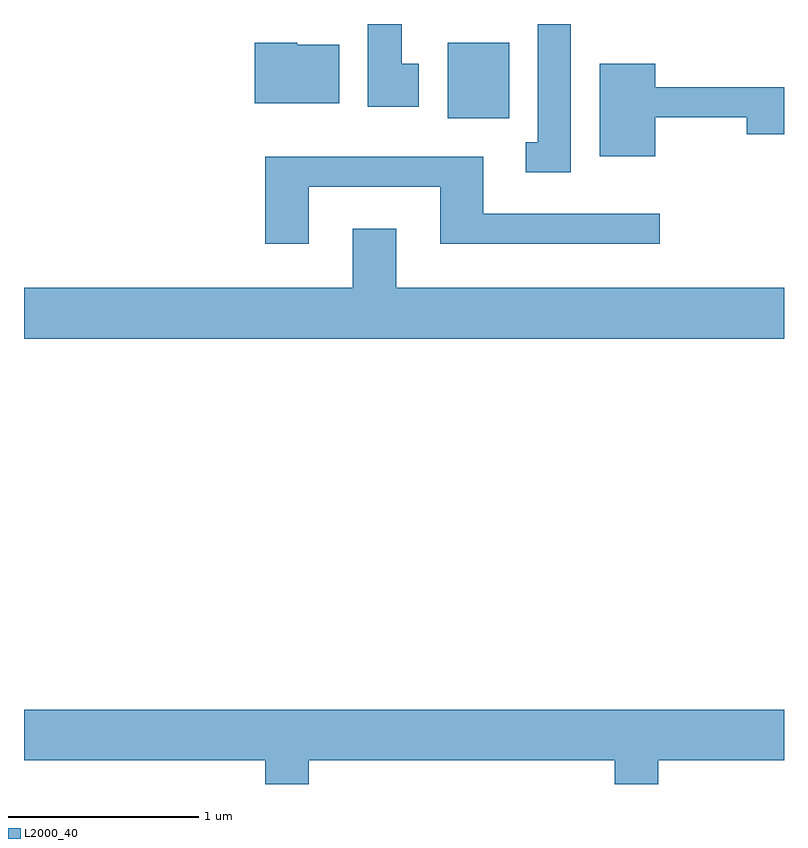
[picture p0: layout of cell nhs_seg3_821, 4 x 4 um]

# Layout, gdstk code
import gdstk
lib = gdstk.Library(unit=1e-6, precision=1e-09)
def R(c, l, rs):  # rectangles x0, y0, x1, y1
    for r in rs: c.add(gdstk.rectangle(r[:2], r[2:], *l))
def P(c, l, *ps):  # polygons
    for p in ps: c.add(gdstk.Polygon(p, *l))
L2000_40 = (2000, 40)

nhs_seg3_821 = lib.new_cell('nhs_seg3_821')
R(nhs_seg3_821, L2000_40, [(211.841,1129.396,212.164,1129.794)])
P(nhs_seg3_821, L2000_40, [(211.689,1129.684),(211.599,1129.684),(211.599,1129.892),(211.421,1129.892),(211.421,1129.456),(211.689,1129.456)],
  [(212.489,1129.892),(212.316,1129.892),(212.316,1129.269),(212.253,1129.269),(212.253,1129.111),(212.489,1129.111)],
  [(211.269,1129.784),(211.05,1129.784),(211.05,1129.794),(210.826,1129.794),(210.826,1129.476),(211.269,1129.476)],
  [(212.934,1129.401),(213.416,1129.401),(213.416,1129.311),(213.611,1129.311),(213.611,1129.559),(212.934,1129.559),(212.934,1129.684),(212.641,1129.684),(212.641,1129.196),(212.934,1129.196)],
  [(211.109,1129.036),(211.801,1129.036),(211.801,1128.736),(212.958,1128.736),(212.958,1128.894),(212.029,1128.894),(212.029,1129.194),(210.881,1129.194),(210.881,1128.736),(211.109,1128.736)],
  [(213.611,1128.504),(211.569,1128.504),(211.569,1128.814),(211.341,1128.814),(211.341,1128.504),(209.611,1128.504),(209.611,1128.236),(213.611,1128.236)],
  [(211.109,1126.016),(212.721,1126.016),(212.721,1125.892),(212.949,1125.892),(212.949,1126.016),(213.611,1126.016),(213.611,1126.284),(209.611,1126.284),(209.611,1126.016),(210.881,1126.016),(210.881,1125.892),(211.109,1125.892)])

lib.write_gds('nhs_seg3_821.gds')
